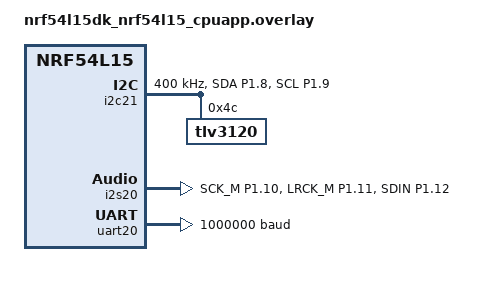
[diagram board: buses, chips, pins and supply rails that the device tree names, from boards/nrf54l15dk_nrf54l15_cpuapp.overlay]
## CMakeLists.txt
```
# SPDX-License-Identifier: Apache-2.0

cmake_minimum_required(VERSION 3.20.0)

find_package(Zephyr REQUIRED HINTS $ENV{ZEPHYR_BASE})
project(i2c_custom_target)

target_sources(app PRIVATE src/main.c)

add_subdirectory(app_components/i2c_app)
add_subdirectory(app_components/audio_i2s_app)
#add_subdirectory(app_components/utils)

target_include_directories(app PRIVATE
    ${CMAKE_CURRENT_SOURCE_DIR}/app_components/audio_i2s_app
    ${CMAKE_CURRENT_SOURCE_DIR}/app_components/i2c_app
)

target_link_libraries(app PRIVATE
    audio_i2s_app
    i2c_app
)
```

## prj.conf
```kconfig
# ================= CORE =================
CONFIG_MAIN_STACK_SIZE=4096
CONFIG_HEAP_MEM_POOL_SIZE=16384
CONFIG_LOG=y
CONFIG_LOG_MODE_DEFERRED=y
CONFIG_LOG_DEFAULT_LEVEL=3

# ================= AUDIO FRAMEWORK =================
CONFIG_AUDIO=y
CONFIG_AUDIO_CODEC=y
#CONFIG_AUDIO_CODEC_LOG_LEVEL_INF=y

# ================= I2C =================
CONFIG_I2C=y

# ================= I2S =================
CONFIG_I2S=y

# ================= GPIO =================
CONFIG_GPIO=y

# ================= CONSOLE =================
CONFIG_SERIAL=y
CONFIG_CONSOLE=y
CONFIG_PRINTK=y
CONFIG_UART_ASYNC_API=y

# Use RTT to avoid USB/UART noise
CONFIG_USE_SEGGER_RTT=y
CONFIG_RTT_CONSOLE=y
CONFIG_UART_CONSOLE=y

# ================= DISABLE USB (you’re not using it) =================
#CONFIG_USB_DEVICE_STACK=n
CONFIG_USB_CDC_ACM=y

# ================= SAFETY =================
CONFIG_ASSERT=y
CONFIG_ASSERT_VERBOSE=y

# ================= THREAD =================
CONFIG_THREAD_STACK_INFO=y
CONFIG_INIT_STACKS=y

# Disable userspace (you are NOT using it)
CONFIG_USERSPACE=n


# Disable RTIO (pulls in app_memory)
CONFIG_RTIO=n
```

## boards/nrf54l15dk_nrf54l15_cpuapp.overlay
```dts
#include <dt-bindings/pinctrl/nrf-pinctrl.h>

&pinctrl {
    i2c21_default: i2c21_default {
        group1 {
            psels = <
                NRF_PSEL(TWIM_SDA, 1, 8)
                NRF_PSEL(TWIM_SCL, 1, 9)
            >;
            bias-pull-up;
        };
    };
};

&pinctrl {
    i2s20_default: i2s20_default {
        group1 {
            psels = <
                NRF_PSEL(I2S_SCK_M,  1, 10)
                NRF_PSEL(I2S_LRCK_M, 1, 11)
                NRF_PSEL(I2S_SDIN,   1, 12)
            >;
        };
    };
};


&i2c21 {
    status = "okay";
    compatible = "nordic,nrf-twim";
    clock-frequency = <I2C_BITRATE_FAST>;
    pinctrl-0 = <&i2c21_default>;
    pinctrl-names = "default";
    tlv3120: tlv3120@4C {
        reg = <0x4C>;
	};
};

&i2s20 {
    status = "okay";
    pinctrl-0 = <&i2s20_default>;
    pinctrl-names = "default";
};

&uart20 {
    current-speed = <1000000>;
};
```

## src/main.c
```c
#include <zephyr/kernel.h>
#include <zephyr/device.h>
#include <zephyr/sys/printk.h>
#include "i2s_config.h"
#include "i2c_app.h"


/* ================= MAIN ================= */

int main(void)
{
    start_audio_thread();
    while (1) {
        k_sleep(K_SECONDS(1));
    }
}
```
